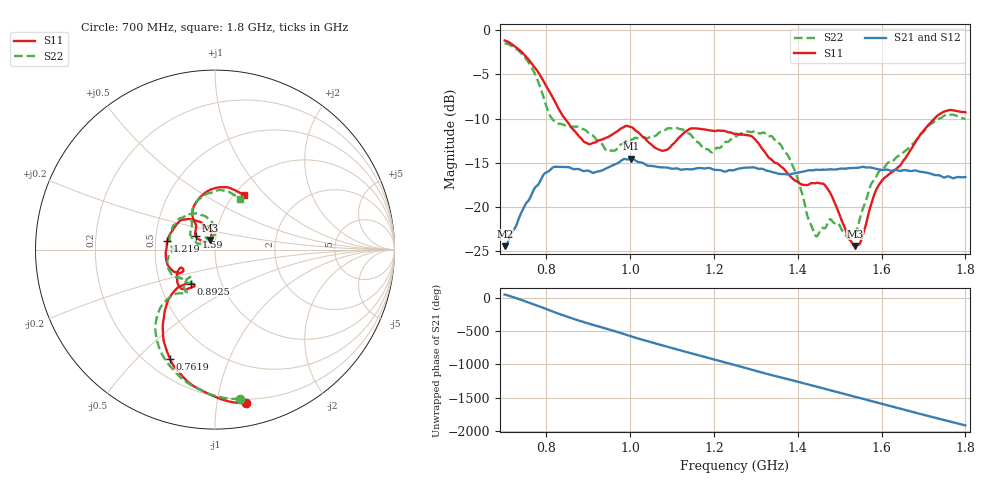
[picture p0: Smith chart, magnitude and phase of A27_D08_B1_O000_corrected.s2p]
! Created with skrf 1.9.0 (http://scikit-rf.org).
# Hz S RI R 50.0
!freq ReS11 ImS11 ReS21 ImS21 ReS12 ImS12 ReS22 ImS22
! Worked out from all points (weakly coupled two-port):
!   1601 points, 700 MHz to 1.8 GHz, reference 50 ohm
!   highest |S21| = -14.53 dB at 1.002 GHz (marker M1); lowest = -24.4 dB at 700.7 MHz (marker M2)
!   lowest |S11| = -24.4 dB at 1.537 GHz (marker M3), VSWR 1.13, Z = 47 + j4.99 ohm
!   |S11| at or under -10 dB: 843.8 MHz to 1.726 GHz (882.2 MHz wide, 68.7 % of centre)
!   |S22| runs from -23.7 to -1.5 dB; largest |S21 - S12| = 0.0036
!   S11 on the Smith chart (normalised r, x): 700 MHz: 0.17, -1.21; 761.9 MHz: 0.29, -0.63; 892.5 MHz: 0.72, -0.29; 1.219 GHz: 0.58, +0.06; 1.59 GHz: 0.80, +0.12; 1.8 GHz: 1.11, +0.76
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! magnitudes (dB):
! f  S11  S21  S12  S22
! 700 MHz  -1.2  -24.4  -24.2  -1.5
! 700.7 MHz  -1.2  -24.4  -24.1  -1.5
! 761.9 MHz  -3.6  -18.9  -18.8  -4.0
! 814.1 MHz  -7.6  -15.6  -15.6  -10.1
! 883.6 MHz  -12.3  -15.9  -15.8  -11.2
! 892.5 MHz  -12.7  -15.9  -16.0  -11.3
! 946.8 MHz  -12.1  -15.5  -15.6  -13.7
! 1.002 GHz  -11.0  -14.5  -14.6  -12.4
! 1.067 GHz  -13.5  -15.5  -15.4  -11.7
! 1.144 GHz  -11.1  -15.8  -15.8  -11.8
! 1.219 GHz  -11.4  -15.9  -15.9  -13.1
! 1.25 GHz  -11.7  -15.8  -15.7  -12.0
! 1.358 GHz  -15.4  -16.3  -16.2  -12.9
! 1.393 GHz  -17.0  -16.2  -16.2  -15.9
! 1.434 GHz  -17.3  -15.9  -15.8  -22.3
! 1.471 GHz  -17.9  -15.8  -15.8  -21.9
! 1.537 GHz  -24.4  -15.6  -15.6  -23.0
! 1.551 GHz  -23.8  -15.5  -15.5  -20.8
! 1.59 GHz  -17.8  -15.7  -15.7  -16.3
! 1.617 GHz  -16.3  -15.8  -15.8  -14.9
! 1.733 GHz  -9.7  -16.4  -16.4  -10.0
! 1.8 GHz  -9.3  -16.6  -16.6  -10.0
